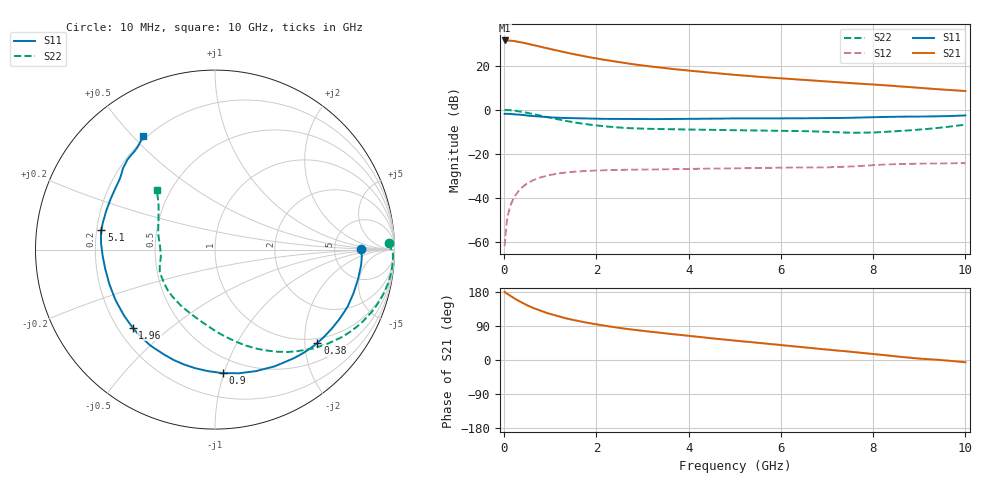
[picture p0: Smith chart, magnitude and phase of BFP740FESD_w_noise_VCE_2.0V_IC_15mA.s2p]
! Infineon Technologies  Discrete & RF Semiconductors
! BFP740FESD
! VCE =  2.0 V,  IC =  15 mA
! Common Emitter S-Parameters:  Jan 2016
# GHz  S  MA  R  50
!  f  S11  S21  S12  S22
! GHz  MAG  ANG  MAG  ANG  MAG  ANG  MAG  ANG
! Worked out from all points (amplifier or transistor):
!   233 points, 10 MHz to 10 GHz, reference 50 ohm
!   highest |S21| = 31.6 dB at 10 MHz (marker M1)
!   |S21| within 3 dB of that: start of sweep to 817.2 MHz
!   unconditionally stable (mu >= 1): 6.008 GHz to end of sweep
!   at 200 MHz: K = 0.06, MSG = 35.9 dB, |S12| = -40.4 dB
!   at 1.74 GHz: K = 0.38, MSG = 26.1 dB, |S12| = -27.8 dB
!   at 10 GHz: K = 1.24, MAG = 13.4 dB, |S12| = -24.2 dB
!   lowest NFmin = 0.70 dB at 450 MHz
!   S11 on the Smith chart (normalised r, x): 10 MHz: 9.61, +0.32; 380 MHz: 0.89, -2.29; 900 MHz: 0.38, -0.99; 1.96 GHz: 0.26, -0.37; 5.1 GHz: 0.22, +0.08; 10 GHz: 0.19, +0.54
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0.01  0.8117 0.4  37.95 179.9  0.0008 101.6  0.9677 2.1
0.02  0.8189 -2.5  37.87 178.4  0.001 83.3  0.991 -1.1
0.1  0.8139 -11.7  37.85 172.3  0.0049 83.7  0.9907 -7.4
0.16  0.8075 -18.6  37.4 167.4  0.0077 80.7  0.9793 -12.0
0.26  0.7928 -29.7  36.09 159.7  0.0121 74.7  0.9518 -19.2
0.38  0.7713 -42.3  34.25 151.7  0.017 68.3  0.9079 -27.1
0.5  0.748 -54.0  32.17 144.3  0.0213 62.7  0.8596 -34.5
0.6  0.7303 -63.0  30.43 138.7  0.0244 58.5  0.8176 -39.9
0.7  0.7145 -71.4  28.77 133.9  0.0272 54.6  0.7772 -45.1
0.9  0.6895 -86.4  25.67 125.1  0.0316 47.9  0.7007 -54.5
1.1  0.6701 -99.3  22.95 117.7  0.0349 42.5  0.6321 -62.8
1.28  0.6576 -109.4  20.85 111.8  0.0372 38.2  0.5794 -69.7
1.4  0.6502 -115.4  19.56 108.2  0.0384 35.9  0.548 -74.0
1.68  0.64 -127.2  17.09 101.0  0.0405 31.4  0.4907 -82.8
1.96  0.6321 -136.6  15.05 94.9  0.0418 28.1  0.4491 -90.6
2.2  0.6264 -143.7  13.63 90.0  0.0426 25.7  0.4221 -96.9
2.6  0.6211 -153.8  11.73 82.9  0.0436 22.7  0.3917 -106.4
3.4  0.6196 -168.3  9.11 71.6  0.0446 19.7  0.3676 -119.5
5.1  0.6425 170.3  6.146 50.0  0.0472 17.9  0.3465 -139.8
6.8  0.6491 150.4  4.577 29.8  0.0494 17.9  0.323 -162.4
8.4  0.6978 134.6  3.546 10.8  0.0582 19.1  0.3238 166.5
10  0.7496 122.3  2.69 -5.9  0.0618 13.9  0.4627 134.4
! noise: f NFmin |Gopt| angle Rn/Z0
0.45  0.7  0.1  -3  0.09
2.4  0.74  0.04  45  0.1
5.5  0.9  0.24  150  0.08
10  1.43  0.37  -126  0.15
